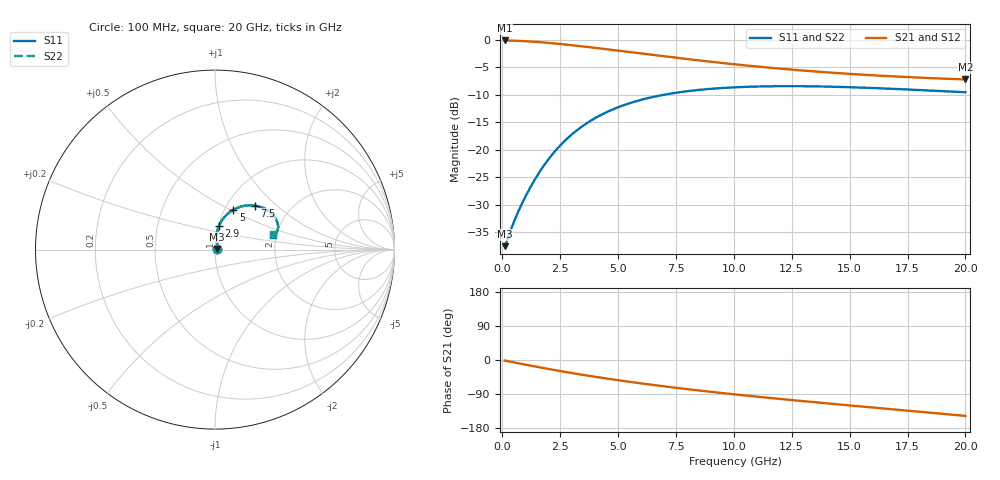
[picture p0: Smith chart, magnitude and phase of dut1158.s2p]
! Touchstone file exported from HFSS 2024.1.0
!  File:  C:/UserFiles/LocalFiles/RDL_TSV_Batchsim/temp_RDL_TSV_1158_1780119759.aedt
!  Generated:  02:14:52 PM May 30, 2026
!  Design:  RDL_TSV
!  Project:  temp_RDL_TSV_1158_1780119759
!  Setup:  Setup1
!  Solution:  Sweep
! Variables:
!  dtsv = 5.02um
!  hbump = 3um
!  htsv = 77.71um
!  ldown = 145.31um
!  lrdl = 375.9um
!  p = 40
!  p1 = 53.54um
!  rhole = 10um
!  subl = 1939.53um
!  t = 450um
!  tdown = 3.88um
!  trdl = 2.62um
!  viad = 10um
!  wdown = 19.22um
!  wrdl = 23.07um
!  xbump = 18um
# GHz S MA R 50.000000
! Terminal data exported
! Port[1] = TM1_1_T1
! Port[2] = TM1_4_T1
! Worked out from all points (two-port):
!   200 points, 100 MHz to 20 GHz, reference 50 ohm
!   highest |S21| = -0.12 dB at 100 MHz (marker M1); lowest = -7.2 dB at 20 GHz (marker M2)
!   |S21| within 3 dB of the highest: start of sweep to 7.232 GHz
!   lowest |S11| = -37.5 dB at 100 MHz (marker M3), VSWR 1.03, Z = 51.3 + j0.386 ohm
!   |S11| at or under -10 dB: start of sweep to 6.964 GHz
!   |S22| runs from -37.5 to -8.4 dB; largest |S21 - S12| = 2.4e-14
!   S11 on the Smith chart (normalised r, x): 100 MHz: 1.03, +0.01; 2.9 GHz: 1.01, +0.27; 5 GHz: 1.10, +0.52; 7.5 GHz: 1.34, +0.74; 20 GHz: 1.91, +0.36
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0.1  0.01336 16.4  0.9858 -1.3  0.9858 -1.3  0.01334 16.3
! Gamma 0 0 0 0
! Port Impedance 50 0 50 0
0.2  0.01496 29.8  0.985 -2.5  0.985 -2.5  0.01492 29.7
0.5  0.02215 53.4  0.981 -6.2  0.981 -6.2  0.02204 53.4
0.7  0.0278 62.6  0.9775 -8.6  0.9775 -8.6  0.02766 62.7
1  0.03764 72.1  0.9707 -12.2  0.9707 -12.2  0.03746 72.2
1.4  0.05353 79.2  0.959 -16.9  0.959 -16.9  0.05333 79.5
1.7  0.06734 81.9  0.9486 -20.4  0.9486 -20.4  0.06715 82.1
2.1  0.08772 83.0  0.9329 -24.8  0.9329 -24.8  0.08757 83.3
2.5  0.1096 82.3  0.9157 -29.2  0.9157 -29.2  0.1095 82.6
2.9  0.1323 80.5  0.8975 -33.4  0.8975 -33.4  0.1323 80.8
3.5  0.1665 76.7  0.8691 -39.4  0.8691 -39.4  0.1666 77.0
4.2  0.2045 71.5  0.8354 -46.1  0.8354 -46.1  0.2047 71.7
5  0.2438 65.3  0.7971 -53.3  0.7971 -53.3  0.2441 65.4
5.8  0.2775 59.2  0.7599 -60.1  0.7599 -60.1  0.2779 59.4
6.8  0.3115 52.2  0.7159 -68.1  0.7159 -68.1  0.3121 52.4
7.5  0.3303 47.7  0.6871 -73.4  0.6871 -73.4  0.3309 47.9
8.8  0.3556 40.4  0.6386 -82.6  0.6386 -82.6  0.3564 40.5
10.1  0.3706 34.2  0.5967 -91.1  0.5967 -91.1  0.3715 34.3
11.7  0.3786 27.9  0.5538 -101.0  0.5538 -101.0  0.3795 28.0
13.4  0.3778 22.6  0.5173 -110.9  0.5173 -110.9  0.3787 22.8
16.7  0.3598 16.2  0.4673 -129.3  0.4673 -129.3  0.3608 16.3
20  0.334 14.5  0.4361 -147.5  0.4361 -147.5  0.3351 14.6
